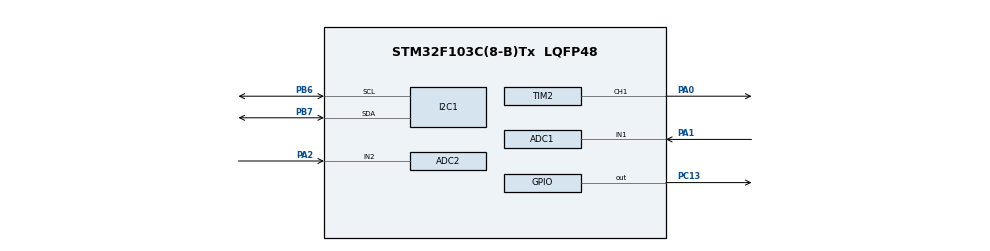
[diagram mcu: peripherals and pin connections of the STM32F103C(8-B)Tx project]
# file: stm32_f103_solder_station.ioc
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ADC1.Channel-0\#ChannelRegularConversion=ADC_CHANNEL_1
ADC1.ContinuousConvMode=ENABLE
ADC1.NbrOfConversion=1
ADC1.NbrOfConversionFlag=1
ADC1.Rank-0\#ChannelRegularConversion=1
ADC1.SamplingTime-0\#ChannelRegularConversion=ADC_SAMPLETIME_1CYCLE_5
ADC1.master=1
ADC2.Channel-1\#ChannelRegularConversion=ADC_CHANNEL_2
ADC2.ContinuousConvMode=ENABLE
ADC2.NbrOfConversionFlag=1
ADC2.Rank-1\#ChannelRegularConversion=1
ADC2.SamplingTime-1\#ChannelRegularConversion=ADC_SAMPLETIME_1CYCLE_5
Mcu.Family=STM32F1
Mcu.Name=STM32F103C(8-B)Tx
Mcu.Package=LQFP48
NVIC.PriorityGroup=NVIC_PRIORITYGROUP_4
PA0-WKUP.Signal=S_TIM2_CH1_ETR
PA1.Signal=ADCx_IN1
PA13.Mode=Serial_Wire
PA13.Signal=SYS_JTMS-SWDIO
PA14.Mode=Serial_Wire
PA14.Signal=SYS_JTCK-SWCLK
PA2.Signal=ADCx_IN2
PB6.Mode=I2C
PB6.Signal=I2C1_SCL
PB7.Mode=I2C
PB7.Signal=I2C1_SDA
PC13-TAMPER-RTC.Signal=GPIO_Output
PC14-OSC32_IN.Mode=LSE-External-Oscillator
PC14-OSC32_IN.Signal=RCC_OSC32_IN
PC15-OSC32_OUT.Mode=LSE-External-Oscillator
PC15-OSC32_OUT.Signal=RCC_OSC32_OUT
PD0-OSC_IN.Mode=HSE-External-Oscillator
PD0-OSC_IN.Signal=RCC_OSC_IN
PD1-OSC_OUT.Mode=HSE-External-Oscillator
PD1-OSC_OUT.Signal=RCC_OSC_OUT
ProjectManager.HeapSize=0x200
ProjectManager.StackSize=0x400
ProjectManager.TargetToolchain=TrueSTUDIO
RCC.APB1Freq_Value=8000000
RCC.APB2Freq_Value=8000000
SH.ADCx_IN1.0=ADC1_IN1,IN1
SH.ADCx_IN2.0=ADC2_IN2,IN2
SH.S_TIM2_CH1_ETR.0=TIM2_CH1,PWM Generation1 CH1
TIM2.Channel-PWM\ Generation1\ CH1=TIM_CHANNEL_1
TIM2.Period=255
TIM2.Prescaler=63
TIM2.Pulse-PWM\ Generation1\ CH1=125
VP_TIM2_VS_ClockSourceINT.Mode=Internal
board=custom

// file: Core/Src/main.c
/* USER CODE BEGIN Header */
/**
  ******************************************************************************
  * @file           : main.c
  * @brief          : Main program body
  ******************************************************************************
  * @attention
  *
  * <h2><center>&copy; Copyright (c) 2021 STMicroelectronics.
  * All rights reserved.</center></h2>
  *
  * This software component is licensed by ST under BSD 3-Clause license,
  * the "License"; You may not use this file except in compliance with the
  * License. You may obtain a copy of the License at:
  *                        opensource.org/licenses/BSD-3-Clause
  *
  ******************************************************************************
  */
/* USER CODE END Header */
#include "main.h"

/* USER CODE BEGIN Includes */

#include "stdio.h"
#include "i2c-lcd.h"
#include "PID_lib.h"

/* USER CODE END Includes */

/* USER CODE BEGIN PD */

#define MAX_PWM 	255
#define MIN_PWM 	0

#define kP 			5
#define kI			0.38
#define kD			0.2

#define TIME_INTERVAL_SEC	0.1

#define POT_SAMPLE_NUMBER	100
#define SEN_SAMPLE_NUMBER	700

#define STATION_MAX_TEMP	400
#define STATION_MIN_TEMP	200

/* USER CODE END PD */

ADC_HandleTypeDef hadc1;
ADC_HandleTypeDef hadc2;

I2C_HandleTypeDef hi2c1;

TIM_HandleTypeDef htim2;

/* USER CODE BEGIN PV */

uint16_t value, pwm_pow;
int set_temp, current_temp;
double real_value;
char display[16];

/* USER CODE END PV */

void SystemClock_Config(void);
static void MX_GPIO_Init(void);
static void MX_I2C1_Init(void);
static void MX_ADC1_Init(void);
static void MX_TIM2_Init(void);
static void MX_ADC2_Init(void);
/* USER CODE BEGIN PFP */

int get_heater_temp();
int get_user_temp();
void semi_auto_config_PID();
void set_PWM(uint16_t pwm_in);

/* USER CODE END PFP */

/* USER CODE BEGIN 0 */

// HADC1 - potentiometer, user set target temperature
int get_user_temp() {

	real_value = 0;
	for (int i = 0; i < POT_SAMPLE_NUMBER; i++) {
		HAL_ADC_PollForConversion(&hadc1, 1000);
		value = HAL_ADC_GetValue(&hadc1);
		real_value += (double) value / POT_SAMPLE_NUMBER;
	}

	return (int) ((real_value / 4096.0) * STATION_MAX_TEMP);
}

//  HADC2 - heat sensor, current soldering hand temperature
int get_heater_temp() {

	real_value = 0;
	for (int i = 0; i < SEN_SAMPLE_NUMBER; i++) {
		HAL_ADC_PollForConversion(&hadc2, 1000);
		value = HAL_ADC_GetValue(&hadc2);
		real_value += (double) value / SEN_SAMPLE_NUMBER;
	}

	return 2.9525 * (1000.0 * (real_value / 4096.0)) / (1 - (real_value / 4096.0)) - 115.8382;
}

// Switch PID gain
void semi_auto_config_PID(){
	if (set_temp > 320 && current_temp > 320) {

		PID_set_gain(kP + 1, kI + 0.02, kD);
		PID_set_clamp(MIN_PWM, (70 * MAX_PWM) / 100, MIN_PWM, MAX_PWM);
	}

	else {

		PID_set_gain(kP, kI, kD);
		PID_set_clamp(MIN_PWM, (65 * MAX_PWM) / 100, MIN_PWM, MAX_PWM);
	}
}

void set_PWM(uint16_t pwm_in){
	htim2.Instance->CCR1 = pwm_in;
}

/* USER CODE END 0 */

int main(void)
{

  /* MCU Configuration--------------------------------------------------------*/

  /* Reset of all peripherals, Initializes the Flash interface and the Systick. */

	HAL_Init();

  /* Configure the system clock */
  SystemClock_Config();

  /* Initialize all configured peripherals */
  MX_GPIO_Init();
  MX_I2C1_Init();
  MX_ADC1_Init();
  MX_TIM2_Init();
  MX_ADC2_Init();
  /* USER CODE BEGIN 2 */

  // PID setup
  PID_init();
  PID_set_gain(kP, kI, kD);
  PID_set_clamp(MIN_PWM, (65 * MAX_PWM)/100, MIN_PWM, MAX_PWM);

  // Start ADC
  HAL_Delay(1000);

  HAL_ADCEx_Calibration_Start(&hadc1);
  HAL_ADCEx_Calibration_Start(&hadc2);

  HAL_ADC_Start(&hadc1);
  HAL_ADC_Start(&hadc2);

  // Start PWM
  HAL_TIM_PWM_Start(&htim2, TIM_CHANNEL_1);

  // Init LCD
  lcd_init();

  /* USER CODE END 2 */

  /* Infinite loop */
  while (1)
  {

    /* USER CODE BEGIN 3 */

	  // Get set_temp from HADC1 (potentiometer)
	  set_temp = get_user_temp();
	  sprintf(display, "TG: %3d  ", set_temp);
	  lcd_goto_XY(0, 0);
	  lcd_send_string(display);

	  // Get current_temp from HADC2 (heat sensor)
	  current_temp = get_heater_temp();
	  sprintf(display, "CR: %3d |", current_temp);
	  lcd_goto_XY(1, 0);
	  lcd_send_string(display);

	  // Only heat up when set temperature > STATION_MIN_TEMP
	  if (set_temp > STATION_MIN_TEMP) {
		  semi_auto_config_PID();
		  pwm_pow = PID_compute(set_temp, current_temp, TIME_INTERVAL_SEC);
	  }

	  else {
		  pwm_pow = MIN_PWM; 	// turn off
	  }

	  set_PWM(pwm_pow); 		// set the PWM
	  sprintf(display, "%.0f%%  ", ((float)pwm_pow/MAX_PWM)*100);
	  lcd_goto_XY(1, 12);
	  lcd_send_string(display);

	  HAL_Delay(100);
  }
  /* USER CODE END 3 */
}

void SystemClock_Config(void)
{
  RCC_OscInitTypeDef RCC_OscInitStruct = {0};
  RCC_ClkInitTypeDef RCC_ClkInitStruct = {0};
  RCC_PeriphCLKInitTypeDef PeriphClkInit = {0};

  /** Initializes the RCC Oscillators according to the specified parameters
  * in the RCC_OscInitTypeDef structure.
  */
  RCC_OscInitStruct.OscillatorType = RCC_OSCILLATORTYPE_HSI;
  RCC_OscInitStruct.HSIState = RCC_HSI_ON;
  RCC_OscInitStruct.HSICalibrationValue = RCC_HSICALIBRATION_DEFAULT;
  RCC_OscInitStruct.PLL.PLLState = RCC_PLL_NONE;
  if (HAL_RCC_OscConfig(&RCC_OscInitStruct) != HAL_OK)
  {
    Error_Handler();
  }
  /** Initializes the CPU, AHB and APB buses clocks
  */
  RCC_ClkInitStruct.ClockType = RCC_CLOCKTYPE_HCLK|RCC_CLOCKTYPE_SYSCLK
                              |RCC_CLOCKTYPE_PCLK1|RCC_CLOCKTYPE_PCLK2;
  RCC_ClkInitStruct.SYSCLKSource = RCC_SYSCLKSOURCE_HSI;
  RCC_ClkInitStruct.AHBCLKDivider = RCC_SYSCLK_DIV1;
  RCC_ClkInitStruct.APB1CLKDivider = RCC_HCLK_DIV1;
  RCC_ClkInitStruct.APB2CLKDivider = RCC_HCLK_DIV1;

  if (HAL_RCC_ClockConfig(&RCC_ClkInitStruct, FLASH_LATENCY_0) != HAL_OK)
  {
    Error_Handler();
  }
  PeriphClkInit.PeriphClockSelection = RCC_PERIPHCLK_ADC;
  PeriphClkInit.AdcClockSelection = RCC_ADCPCLK2_DIV2;
  if (HAL_RCCEx_PeriphCLKConfig(&PeriphClkInit) != HAL_OK)
  {
    Error_Handler();
  }
}

static void MX_ADC1_Init(void)
{

  ADC_ChannelConfTypeDef sConfig = {0};

  /** Common config
  */
  hadc1.Instance = ADC1;
  hadc1.Init.ScanConvMode = ADC_SCAN_DISABLE;
  hadc1.Init.ContinuousConvMode = ENABLE;
  hadc1.Init.DiscontinuousConvMode = DISABLE;
  hadc1.Init.ExternalTrigConv = ADC_SOFTWARE_START;
  hadc1.Init.DataAlign = ADC_DATAALIGN_RIGHT;
  hadc1.Init.NbrOfConversion = 1;
  if (HAL_ADC_Init(&hadc1) != HAL_OK)
  {
    Error_Handler();
  }
  /** Configure Regular Channel
  */
  sConfig.Channel = ADC_CHANNEL_1;
  sConfig.Rank = ADC_REGULAR_RANK_1;
  sConfig.SamplingTime = ADC_SAMPLETIME_1CYCLE_5;
  if (HAL_ADC_ConfigChannel(&hadc1, &sConfig) != HAL_OK)
  {
    Error_Handler();
  }

}

static void MX_ADC2_Init(void)
{

  ADC_ChannelConfTypeDef sConfig = {0};

  /** Common config
  */
  hadc2.Instance = ADC2;
  hadc2.Init.ScanConvMode = ADC_SCAN_DISABLE;
  hadc2.Init.ContinuousConvMode = ENABLE;
  hadc2.Init.DiscontinuousConvMode = DISABLE;
  hadc2.Init.ExternalTrigConv = ADC_SOFTWARE_START;
  hadc2.Init.DataAlign = ADC_DATAALIGN_RIGHT;
  hadc2.Init.NbrOfConversion = 1;
  if (HAL_ADC_Init(&hadc2) != HAL_OK)
  {
    Error_Handler();
  }
  /** Configure Regular Channel
  */
  sConfig.Channel = ADC_CHANNEL_2;
  sConfig.Rank = ADC_REGULAR_RANK_1;
  sConfig.SamplingTime = ADC_SAMPLETIME_1CYCLE_5;
  if (HAL_ADC_ConfigChannel(&hadc2, &sConfig) != HAL_OK)
  {
    Error_Handler();
  }

}

static void MX_I2C1_Init(void)
{

  hi2c1.Instance = I2C1;
  hi2c1.Init.ClockSpeed = 100000;
  hi2c1.Init.DutyCycle = I2C_DUTYCYCLE_2;
  hi2c1.Init.OwnAddress1 = 0;
  hi2c1.Init.AddressingMode = I2C_ADDRESSINGMODE_7BIT;
  hi2c1.Init.DualAddressMode = I2C_DUALADDRESS_DISABLE;
  hi2c1.Init.OwnAddress2 = 0;
  hi2c1.Init.GeneralCallMode = I2C_GENERALCALL_DISABLE;
  hi2c1.Init.NoStretchMode = I2C_NOSTRETCH_DISABLE;
  if (HAL_I2C_Init(&hi2c1) != HAL_OK)
  {
    Error_Handler();
  }

}

static void MX_TIM2_Init(void)
{

  TIM_ClockConfigTypeDef sClockSourceConfig = {0};
  TIM_MasterConfigTypeDef sMasterConfig = {0};
  TIM_OC_InitTypeDef sConfigOC = {0};

  htim2.Instance = TIM2;
  htim2.Init.Prescaler = 63;
  htim2.Init.CounterMode = TIM_COUNTERMODE_UP;
  htim2.Init.Period = 255;
  htim2.Init.ClockDivision = TIM_CLOCKDIVISION_DIV1;
  htim2.Init.AutoReloadPreload = TIM_AUTORELOAD_PRELOAD_DISABLE;
  if (HAL_TIM_Base_Init(&htim2) != HAL_OK)
  {
    Error_Handler();
  }
  sClockSourceConfig.ClockSource = TIM_CLOCKSOURCE_INTERNAL;
  if (HAL_TIM_ConfigClockSource(&htim2, &sClockSourceConfig) != HAL_OK)
  {
    Error_Handler();
  }
  if (HAL_TIM_PWM_Init(&htim2) != HAL_OK)
  {
    Error_Handler();
  }
  sMasterConfig.MasterOutputTrigger = TIM_TRGO_RESET;
  sMasterConfig.MasterSlaveMode = TIM_MASTERSLAVEMODE_DISABLE;
  if (HAL_TIMEx_MasterConfigSynchronization(&htim2, &sMasterConfig) != HAL_OK)
  {
    Error_Handler();
  }
  sConfigOC.OCMode = TIM_OCMODE_PWM1;
  //sConfigOC.Pulse = 125;
  sConfigOC.Pulse = 0;
  sConfigOC.OCPolarity = TIM_OCPOLARITY_HIGH;
  sConfigOC.OCFastMode = TIM_OCFAST_DISABLE;
  if (HAL_TIM_PWM_ConfigChannel(&htim2, &sConfigOC, TIM_CHANNEL_1) != HAL_OK)
  {
    Error_Handler();
  }
  HAL_TIM_MspPostInit(&htim2);

}

static void MX_GPIO_Init(void)
{
  GPIO_InitTypeDef GPIO_InitStruct = {0};

  /* GPIO Ports Clock Enable */
  __HAL_RCC_GPIOC_CLK_ENABLE();
  __HAL_RCC_GPIOD_CLK_ENABLE();
  __HAL_RCC_GPIOA_CLK_ENABLE();
  __HAL_RCC_GPIOB_CLK_ENABLE();

  /*Configure GPIO pin Output Level */
  HAL_GPIO_WritePin(GPIOC, GPIO_PIN_13, GPIO_PIN_RESET);

  /*Configure GPIO pin : PC13 */
  GPIO_InitStruct.Pin = GPIO_PIN_13;
  GPIO_InitStruct.Mode = GPIO_MODE_OUTPUT_PP;
  GPIO_InitStruct.Pull = GPIO_NOPULL;
  GPIO_InitStruct.Speed = GPIO_SPEED_FREQ_LOW;
  HAL_GPIO_Init(GPIOC, &GPIO_InitStruct);

}

void Error_Handler(void)
{
  __disable_irq();
  while (1)
  {
  }
}

/************************ (C) COPYRIGHT STMicroelectronics *****END OF FILE****/
